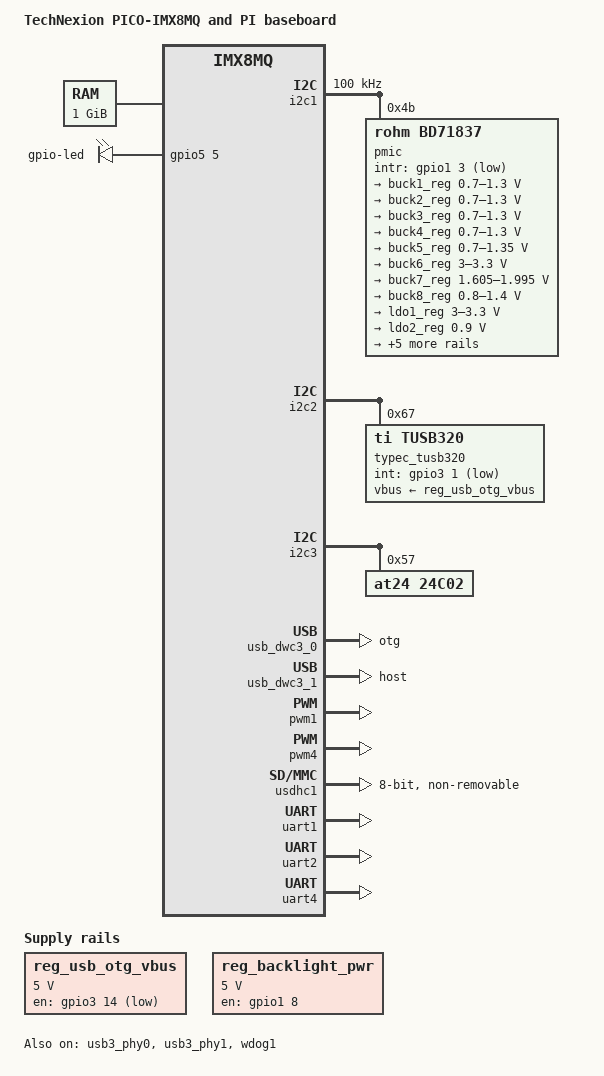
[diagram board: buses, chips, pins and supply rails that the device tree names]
/*
 * Copyright 2018 Technexion Ltd.
 * Copyright 2017 NXP
 *
 * Author: Richard Hu <richard.hu@technexion.com>
 *
 * This program is free software; you can redistribute it and/or
 * modify it under the terms of the GNU General Public License
 * as published by the Free Software Foundation; either version 2
 * of the License, or (at your option) any later version.
 *
 * This program is distributed in the hope that it will be useful,
 * but WITHOUT ANY WARRANTY; without even the implied warranty of
 * MERCHANTABILITY or FITNESS FOR A PARTICULAR PURPOSE.  See the
 * GNU General Public License for more details.
 */

/dts-v1/;

#include "freescale/imx8mq.dtsi"

/ {

	chosen {
		bootargs = "---------------------------------------------------------------------------------------------------------------------------------------------------------------------------";
		stdout-path = &uart1;
        linux,initrd-start = <0x00000000>;
        linux,initrd-end = <0x00000000>;
        pb,device-uuid = "00000000-0000-0000-0000-000000000000";
        pb,active-system = "?";
        pb,boot-time = <0>;
        pb,slc = <0>;
        pb,slc-available-keys = <>;
        pb,slc-active-key = <0x00000000>;
    };
};

/ {
	model = "TechNexion PICO-IMX8MQ and PI baseboard";
	compatible = "pico,imx8mq-pico", "fsl,imx8mq";

	memory@40000000 {
		device_type = "memory";
		reg = <0x00000000 0x40000000 0 0x40000000>;
	};

	regulators {
		compatible = "simple-bus";
		#address-cells = <1>;
		#size-cells = <0>;

		reg_usb_otg_vbus: usb_otg_vbus {
			pinctrl-names = "default";
			pinctrl-0 = <&pinctrl_otg_vbus>;
			compatible = "regulator-fixed";
			regulator-name = "usb_otg_vbus";
			regulator-min-microvolt = <5000000>;
			regulator-max-microvolt = <5000000>;
			gpio = <&gpio3 14 GPIO_ACTIVE_LOW>;
		};

		reg_backlight_pwr: regulator_blpwr {
			pinctrl-names = "default";
			pinctrl-0 = <&pinctrl_backlight_pwr>;
			compatible = "regulator-fixed";
			regulator-name = "backlight_pwr";
			regulator-min-microvolt = <5000000>;
			regulator-max-microvolt = <5000000>;
			gpio = <&gpio1 8 GPIO_ACTIVE_HIGH>;
			enable-active-high;
		};
	};

	backlight_mipi {
		compatible = "pwm-backlight";
		pwms = <&pwm1 0 50000 0>;
		brightness-levels = <0 36 72 108 144 180 216 255>;
		default-brightness-level = <6>;
		power-supply = <&reg_backlight_pwr>;
		status = "disabled";
	};

	leds {
		compatible = "gpio-leds";
		pinctrl-names = "default";
		pinctrl-0 = <&pinctrl_gpio_led>;

		led {
			label = "gpio-led";
			gpios = <&gpio5 5 GPIO_ACTIVE_HIGH>;
		};
	};

	sound-hdmi {
		compatible = "fsl,imx8mq-evk-cdnhdmi",
				"fsl,imx-audio-cdnhdmi";
		model = "imx-audio-hdmi";
		audio-cpu = <&sai4>;
		protocol = <1>;
		hdmi-out;
		constraint-rate = <44100>,
				<88200>,
				<176400>,
				<32000>,
				<48000>,
				<96000>,
				<192000>;
	};
};

&clk {
	assigned-clocks = <&clk IMX8MQ_AUDIO_PLL1>;
	assigned-clock-rates = <786432000>;
};

&iomuxc {
	imx8mq-pico {
		pinctrl_i2c1: i2c1grp {
			fsl,pins = <
				MX8MQ_IOMUXC_I2C1_SCL_I2C1_SCL			0x40000067
				MX8MQ_IOMUXC_I2C1_SDA_I2C1_SDA			0x40000067
			>;
		};
		pinctrl_uart1: uart1grp {
			fsl,pins = <
				MX8MQ_IOMUXC_UART1_RXD_UART1_DCE_RX		0x49
				MX8MQ_IOMUXC_UART1_TXD_UART1_DCE_TX		0x49
			>;
		};

		pinctrl_uart2: uart2grp {
			fsl,pins = <
				MX8MQ_IOMUXC_UART2_RXD_UART2_DCE_RX		0x49
				MX8MQ_IOMUXC_UART2_TXD_UART2_DCE_TX		0x49
				MX8MQ_IOMUXC_UART4_RXD_UART2_DCE_CTS_B		0x49
				MX8MQ_IOMUXC_UART4_TXD_UART2_DCE_RTS_B		0x49
			>;
		};

		pinctrl_uart4: uart4grp {
			fsl,pins = <
				MX8MQ_IOMUXC_ECSPI2_MOSI_UART4_DCE_TX		0x49
				MX8MQ_IOMUXC_ECSPI2_SCLK_UART4_DCE_RX		0x49
				MX8MQ_IOMUXC_ECSPI2_MISO_UART4_DCE_CTS_B	0x49
				MX8MQ_IOMUXC_ECSPI2_SS0_UART4_DCE_RTS_B		0x49
			>;
		};
		pinctrl_otg_vbus: otgvbusgrp {
			fsl,pins = <
				MX8MQ_IOMUXC_NAND_DQS_GPIO3_IO14		0x19   /* USB OTG VBUS Enable */
			>;
		};

		pinctrl_backlight_pwr: backlight_pwrgrp {
			fsl,pins = <
				MX8MQ_IOMUXC_GPIO1_IO08_GPIO1_IO8		0x19
			>;
		};

		pinctrl_dsi_pwm: dsi_pwm {
			fsl,pins = <
				MX8MQ_IOMUXC_GPIO1_IO01_PWM1_OUT		0x16	/* DSI PWM */
			>;
		};

		pinctrl_fan_pwm: fan_pwm {
			fsl,pins = <
				MX8MQ_IOMUXC_SAI3_MCLK_PWM4_OUT			0x16	/* FAN PWM */
			>;
		};

		pinctrl_tusb320_irq: tusb320_irqgrp {
			fsl,pins = <
				MX8MQ_IOMUXC_NAND_CE0_B_GPIO3_IO1	0x41
			>;
		};

		pinctrl_csi1: csi1grp {
			fsl,pins = <
				MX8MQ_IOMUXC_NAND_CE1_B_GPIO3_IO2		0x19   /* CSI P1 PWDN */
				MX8MQ_IOMUXC_GPIO1_IO12_GPIO1_IO12		0x19   /* CSI nRST */
				MX8MQ_IOMUXC_GPIO1_IO15_CCMSRCGPCMIX_CLKO2	0x59
			>;
		};

		pinctrl_csi2: csi2grp {
			fsl,pins = <
				MX8MQ_IOMUXC_ECSPI1_MOSI_GPIO5_IO7		0x19   /* CSI P2 PWDN */
				MX8MQ_IOMUXC_NAND_READY_B_GPIO3_IO16		0x19   /* CSI nRST */
			>;
		};

		pinctrl_nfc_ctrl: nfc_ctrl {
			fsl,pins = <
				MX8MQ_IOMUXC_ECSPI1_MOSI_GPIO5_IO7		0x19	/* PIN_ENABLE */
				MX8MQ_IOMUXC_NAND_CE3_B_GPIO3_IO4		0x19	/* PIN_INT */
			>;
		};

		pinctrl_mipi_dsi_rst: mipi_dsi_rst {
			fsl,pins = <
				MX8MQ_IOMUXC_NAND_WE_B_GPIO3_IO17	0x16   /* DSI RST */
			>;
		};

		pinctrl_touch_irq: touch_irqgrp {
			fsl,pins = <
				MX8MQ_IOMUXC_GPIO1_IO07_GPIO1_IO7	0x41
			>;
		};

		pinctrl_touch_rst: touch_rstgrp {
			fsl,pins = <
				MX8MQ_IOMUXC_NAND_WP_B_GPIO3_IO18	0x16
			>;
		};

		pinctrl_gpio_led: gpioledgrp {
			fsl,pins = <
				MX8MQ_IOMUXC_SPDIF_EXT_CLK_GPIO5_IO5	0x19
			>;
		};
        pinctrl_usdhc1: usdhc1grp {
            fsl,pins = <
                MX8MQ_IOMUXC_SD1_CLK_USDHC1_CLK			0x83
                MX8MQ_IOMUXC_SD1_CMD_USDHC1_CMD			0xc3
                MX8MQ_IOMUXC_SD1_DATA0_USDHC1_DATA0		0xc3
                MX8MQ_IOMUXC_SD1_DATA1_USDHC1_DATA1		0xc3
                MX8MQ_IOMUXC_SD1_DATA2_USDHC1_DATA2		0xc3
                MX8MQ_IOMUXC_SD1_DATA3_USDHC1_DATA3		0xc3
                MX8MQ_IOMUXC_SD1_DATA4_USDHC1_DATA4		0xc3
                MX8MQ_IOMUXC_SD1_DATA5_USDHC1_DATA5		0xc3
                MX8MQ_IOMUXC_SD1_DATA6_USDHC1_DATA6		0xc3
                MX8MQ_IOMUXC_SD1_DATA7_USDHC1_DATA7		0xc3
                MX8MQ_IOMUXC_SD1_STROBE_USDHC1_STROBE		0x83
                MX8MQ_IOMUXC_SD1_RESET_B_USDHC1_RESET_B		0xc1
            >;
        };

        pinctrl_usdhc1_100mhz: usdhc1-100grp {
            fsl,pins = <
                MX8MQ_IOMUXC_SD1_CLK_USDHC1_CLK			0x8d
                MX8MQ_IOMUXC_SD1_CMD_USDHC1_CMD			0xcd
                MX8MQ_IOMUXC_SD1_DATA0_USDHC1_DATA0		0xcd
                MX8MQ_IOMUXC_SD1_DATA1_USDHC1_DATA1		0xcd
                MX8MQ_IOMUXC_SD1_DATA2_USDHC1_DATA2		0xcd
                MX8MQ_IOMUXC_SD1_DATA3_USDHC1_DATA3		0xcd
                MX8MQ_IOMUXC_SD1_DATA4_USDHC1_DATA4		0xcd
                MX8MQ_IOMUXC_SD1_DATA5_USDHC1_DATA5		0xcd
                MX8MQ_IOMUXC_SD1_DATA6_USDHC1_DATA6		0xcd
                MX8MQ_IOMUXC_SD1_DATA7_USDHC1_DATA7		0xcd
                MX8MQ_IOMUXC_SD1_STROBE_USDHC1_STROBE		0x8d
                MX8MQ_IOMUXC_SD1_RESET_B_USDHC1_RESET_B		0xc1
            >;
        };

        pinctrl_usdhc1_200mhz: usdhc1-200grp {
            fsl,pins = <
                MX8MQ_IOMUXC_SD1_CLK_USDHC1_CLK			0x9f
                MX8MQ_IOMUXC_SD1_CMD_USDHC1_CMD			0xdf
                MX8MQ_IOMUXC_SD1_DATA0_USDHC1_DATA0		0xdf
                MX8MQ_IOMUXC_SD1_DATA1_USDHC1_DATA1		0xdf
                MX8MQ_IOMUXC_SD1_DATA2_USDHC1_DATA2		0xdf
                MX8MQ_IOMUXC_SD1_DATA3_USDHC1_DATA3		0xdf
                MX8MQ_IOMUXC_SD1_DATA4_USDHC1_DATA4		0xdf
                MX8MQ_IOMUXC_SD1_DATA5_USDHC1_DATA5		0xdf
                MX8MQ_IOMUXC_SD1_DATA6_USDHC1_DATA6		0xdf
                MX8MQ_IOMUXC_SD1_DATA7_USDHC1_DATA7		0xdf
                MX8MQ_IOMUXC_SD1_STROBE_USDHC1_STROBE		0x9f
                MX8MQ_IOMUXC_SD1_RESET_B_USDHC1_RESET_B		0xc1
            >;
        };

        pinctrl_wdog: wdog1grp {
            fsl,pins = <
                MX8MQ_IOMUXC_GPIO1_IO02_WDOG1_WDOG_B		0xc6
            >;
        };

		pinctrl_pmic: pmicirq {
			fsl,pins = <
				MX8MQ_IOMUXC_GPIO1_IO03_GPIO1_IO3	0x41
			>;
		};
	};
};

&i2c1 {
	clock-frequency = <100000>;
	pinctrl-names = "default";
	pinctrl-0 = <&pinctrl_i2c1>;
	status = "okay";

	pmic: bd71837@4b {
		reg = <0x4b>;
		compatible = "rohm,bd71837";
		/* PMIC BD71837 PMIC_nINT GPIO1_IO3 */
		pinctrl-0 = <&pinctrl_pmic>;
		gpio_intr = <&gpio1 3 GPIO_ACTIVE_LOW>;

		gpo {
			rohm,drv = <0x0C>;	/* 0b0000_1100 all gpos with cmos output mode */
		};

		regulators {
			#address-cells = <1>;
			#size-cells = <0>;

			bd71837,pmic-buck1-uses-i2c-dvs;
			bd71837,pmic-buck1-dvs-voltage = <900000>, <850000>, <800000>; /* VDD_SOC: Run-Idle-Suspend */
			bd71837,pmic-buck2-uses-i2c-dvs;
			bd71837,pmic-buck2-dvs-voltage = <1000000>, <900000>, <0>; /* VDD_ARM: Run-Idle */
			bd71837,pmic-buck3-uses-i2c-dvs;
			bd71837,pmic-buck3-dvs-voltage = <1000000>, <0>, <0>; /* VDD_GPU: Run */
			bd71837,pmic-buck4-uses-i2c-dvs;
			bd71837,pmic-buck4-dvs-voltage = <1000000>, <0>, <0>; /* VDD_VPU: Run */

			buck1_reg: regulator@0 {
				reg = <0>;
				regulator-compatible = "buck1";
				regulator-min-microvolt = <700000>;
				regulator-max-microvolt = <1300000>;
				regulator-boot-on;
				regulator-always-on;
				regulator-ramp-delay = <1250>;
			};

			buck2_reg: regulator@1 {
				reg = <1>;
				regulator-compatible = "buck2";
				regulator-min-microvolt = <700000>;
				regulator-max-microvolt = <1300000>;
				regulator-boot-on;
				regulator-always-on;
				regulator-ramp-delay = <1250>;
			};

			buck3_reg: regulator@2 {
				reg = <2>;
				regulator-compatible = "buck3";
				regulator-min-microvolt = <700000>;
				regulator-max-microvolt = <1300000>;
				regulator-boot-on;
				regulator-always-on;
			};

			buck4_reg: regulator@3 {
				reg = <3>;
				regulator-compatible = "buck4";
				regulator-min-microvolt = <700000>;
				regulator-max-microvolt = <1300000>;
				regulator-boot-on;
				regulator-always-on;
			};

			buck5_reg: regulator@4 {
				reg = <4>;
				regulator-compatible = "buck5";
				regulator-min-microvolt = <700000>;
				regulator-max-microvolt = <1350000>;
				regulator-boot-on;
				regulator-always-on;
			};

			buck6_reg: regulator@5 {
				reg = <5>;
				regulator-compatible = "buck6";
				regulator-min-microvolt = <3000000>;
				regulator-max-microvolt = <3300000>;
				regulator-boot-on;
				regulator-always-on;
			};

			buck7_reg: regulator@6 {
				reg = <6>;
				regulator-compatible = "buck7";
				regulator-min-microvolt = <1605000>;
				regulator-max-microvolt = <1995000>;
				regulator-boot-on;
				regulator-always-on;
			};

			buck8_reg: regulator@7 {
				reg = <7>;
				regulator-compatible = "buck8";
				regulator-min-microvolt = <800000>;
				regulator-max-microvolt = <1400000>;
				regulator-boot-on;
				regulator-always-on;
			};

			ldo1_reg: regulator@8 {
				reg = <8>;
				regulator-compatible = "ldo1";
				regulator-min-microvolt = <3000000>;
				regulator-max-microvolt = <3300000>;
				regulator-boot-on;
				regulator-always-on;
			};

			ldo2_reg: regulator@9 {
				reg = <9>;
				regulator-compatible = "ldo2";
				regulator-min-microvolt = <900000>;
				regulator-max-microvolt = <900000>;
				regulator-boot-on;
				regulator-always-on;
			};

			ldo3_reg: regulator@10 {
				reg = <10>;
				regulator-compatible = "ldo3";
				regulator-min-microvolt = <1800000>;
				regulator-max-microvolt = <3300000>;
				regulator-boot-on;
				regulator-always-on;
			};

			ldo4_reg: regulator@11 {
				reg = <11>;
				regulator-compatible = "ldo4";
				regulator-min-microvolt = <900000>;
				regulator-max-microvolt = <1800000>;
				regulator-boot-on;
				regulator-always-on;
			};

			ldo5_reg: regulator@12 {
				reg = <12>;
				regulator-compatible = "ldo5";
				regulator-min-microvolt = <1800000>;
				regulator-max-microvolt = <3300000>;
				regulator-boot-on;
				regulator-always-on;
			};

			ldo6_reg: regulator@13 {
				reg = <13>;
				regulator-compatible = "ldo6";
				regulator-min-microvolt = <900000>;
				regulator-max-microvolt = <1800000>;
				regulator-boot-on;
				regulator-always-on;
			};

			ldo7_reg: regulator@14 {
				reg = <14>;
				regulator-compatible = "ldo7";
				regulator-min-microvolt = <1800000>;
				regulator-max-microvolt = <3300000>;
				regulator-boot-on;
				regulator-always-on;
			};
		};
	};
};

&i2c2 {
	status = "okay";

	typec_tusb320:tusb320@67 {
		compatible = "ti,tusb320";
		pinctrl-names = "default";
		pinctrl-0 = <&pinctrl_tusb320_irq>;
		reg = <0x67>;
		vbus-supply = <&reg_usb_otg_vbus>;
		tusb320,int-gpio = <&gpio3 1 GPIO_ACTIVE_LOW>;
		tusb320,select-mode = <0>;
		tusb320,dfp-power = <0>;
	};
};

&i2c3 {
	status = "okay";

	at24@57 {
		compatible = "at24,24c02";
		pagesize = <8>;
		reg = <0x57>;
		status = "okay";
	};

	pn547: pn547@2a {
		compatible = "nxp,pn547";
		reg = <0x2a>;
		pinctrl-names = "default";
		pinctrl-0 = <&pinctrl_nfc_ctrl>;
		clock-frequency = <100000>;
		interrupt-gpios = <&gpio3 4 0>;
		enable-gpios = <&gpio5 7 0>;
		/* When you enable NFC, you must to disable ov5645_mipi2 device */
		status = "disabled";
	};
};

&usb3_phy0 {
	status = "okay";
};

&usb_dwc3_0 {
	extcon = <&typec_tusb320>;
	dr_mode = "otg";
	status = "okay";
};

&usb3_phy1 {
	status = "okay";
};

&usb_dwc3_1 {
	status = "okay";
	dr_mode = "host";
};

&pwm1 {
	pinctrl-names = "default";
	pinctrl-0 = <&pinctrl_dsi_pwm>;
	status = "okay";
};

&pwm4 {
	pinctrl-names = "default";
	pinctrl-0 = <&pinctrl_fan_pwm>;
	status = "okay";
};

&usdhc1 {
	assigned-clocks = <&clk IMX8MQ_CLK_USDHC1>;
	assigned-clock-rates = <400000000>;
	pinctrl-names = "default", "state_100mhz", "state_200mhz";
	pinctrl-0 = <&pinctrl_usdhc1>;
	pinctrl-1 = <&pinctrl_usdhc1_100mhz>;
	pinctrl-2 = <&pinctrl_usdhc1_200mhz>;
	bus-width = <8>;
	non-removable;
	no-sd;
	no-sdio;
	status = "okay";
};

&wdog1 {
	pinctrl-names = "default";
	pinctrl-0 = <&pinctrl_wdog>;
	fsl,ext-reset-output;
	status = "okay";
};

&uart1 { /* console */
	pinctrl-names = "default";
	pinctrl-0 = <&pinctrl_uart1>;
	assigned-clocks = <&clk IMX8MQ_CLK_UART1>;
	assigned-clock-parents = <&clk IMX8MQ_CLK_25M>;
	status = "okay";
};

&uart2 { /* Bluetooth */
	pinctrl-names = "default";
	pinctrl-0 = <&pinctrl_uart2>;
	assigned-clocks = <&clk IMX8MQ_CLK_UART2>;
	assigned-clock-parents = <&clk IMX8MQ_SYS1_PLL_80M>;
	fsl,uart-has-rtscts;
	status = "okay";
};

&uart4 { /* 2nd console, CLIX connector */
	pinctrl-names = "default";
	pinctrl-0 = <&pinctrl_uart4>;
	assigned-clocks = <&clk IMX8MQ_CLK_UART4>;
	assigned-clock-parents = <&clk IMX8MQ_SYS1_PLL_80M>;
	fsl,uart-has-rtscts;
	status = "okay";
};
